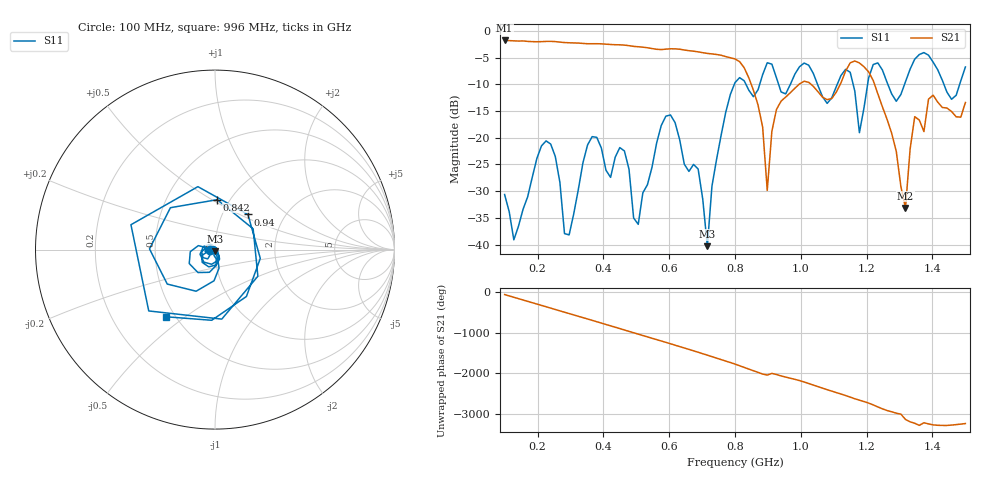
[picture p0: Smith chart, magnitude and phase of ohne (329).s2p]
! NanoVNA-App
! Date: 2025-09-25 14:23:21
! Start: 100MHz Stop: 1,5GHz Points: 101
! S-Parameter data: F S11 S21 S12 S22
# Hz S RI R 50
!  Frequency  S11_Real  S11_Imag  S21_Real  S21_Imag  S12_Real  S12_Imag  S22_Real  S22_Imag
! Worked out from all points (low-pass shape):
!   101 points, 100 MHz to 1.5 GHz, reference 50 ohm
!   highest |S21| = -1.79 dB at 100 MHz (marker M1); lowest = -33.2 dB at 1.318 GHz (marker M2)
!   |S21| within 3 dB of the highest: start of sweep to 770.7 MHz
!   lowest |S11| = -40.3 dB at 716 MHz (marker M3), VSWR 1.02, Z = 49.9 - j0.952 ohm
!   |S11| at or under -10 dB: start of sweep to 798 MHz; 833.2 MHz to 875.1 MHz (41.87 MHz wide, 4.9 % of centre); 1.051 GHz to 1.111 GHz (60.05 MHz wide, 5.56 % of centre) (the widest 3 of 7)
!   S12 and S22 are empty: the file has one direction only
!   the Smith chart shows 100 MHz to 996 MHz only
!   S11 on the Smith chart (normalised r, x): 100 MHz: 0.94, -0.01; 842 MHz: 0.88, +0.53; 940 MHz: 1.32, +0.56; 996 MHz: 0.45, -0.43
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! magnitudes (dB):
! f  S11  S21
! 100 MHz  -30.6  -1.8
! 128 MHz  -39.1  -1.9
! 226 MHz  -20.6  -2.0
! 296 MHz  -38.2  -2.2
! 338 MHz  -24.7  -2.3
! 464 MHz  -22.5  -2.7
! 506 MHz  -36.2  -3.0
! 576 MHz  -17.7  -3.5
! 688 MHz  -25.9  -3.9
! 716 MHz  -40.3  -4.2
! 800 MHz  -9.7  -5.3
! 842 MHz  -11.1  -8.8
! 898 MHz  -6.0  -29.9
! 940 MHz  -11.4  -13.2
! 996 MHz  -6.7  -9.9
! 1.038 GHz  -8.0  -10.4
! 1.178 GHz  -19.1  -6.0
! 1.22 GHz  -6.3  -9.3
! 1.276 GHz  -11.8  -19.2
! 1.318 GHz  -9.5  -33.2
! 1.346 GHz  -5.3  -16.1
! 1.5 GHz  -6.8  -13.4
